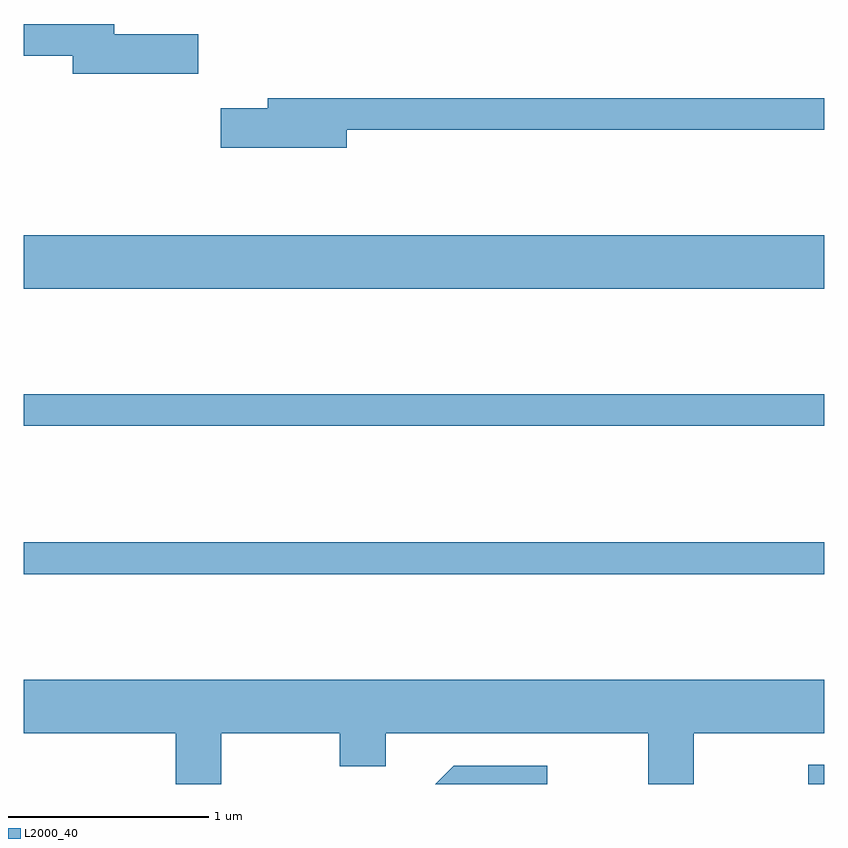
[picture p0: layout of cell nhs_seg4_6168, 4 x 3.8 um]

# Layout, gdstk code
import gdstk
lib = gdstk.Library(unit=1e-6, precision=1e-09)
def R(c, l, rs):  # rectangles x0, y0, x1, y1
    for r in rs: c.add(gdstk.rectangle(r[:2], r[2:], *l))
def P(c, l, *ps):  # polygons
    for p in ps: c.add(gdstk.Polygon(p, *l))
L2000_40 = (2000, 40)

nhs_seg4_6168 = lib.new_cell('nhs_seg4_6168')
R(nhs_seg4_6168, L2000_40, [(369.531,1349.982,369.611,1350.079), (365.611,1351.031,369.611,1351.189), (365.611,1351.771,369.611,1351.929), (365.611,1352.456,369.611,1352.724)])
P(nhs_seg4_6168, L2000_40, [(366.484,1353.729),(366.064,1353.729),(366.064,1353.779),(365.611,1353.779),(365.611,1353.621),(365.856,1353.621),(365.856,1353.531),(366.484,1353.531)],
  [(367.224,1353.251),(369.611,1353.251),(369.611,1353.409),(366.831,1353.409),(366.831,1353.359),(366.596,1353.359),(366.596,1353.161),(367.224,1353.161)],
  [(366.599,1350.236),(367.191,1350.236),(367.191,1350.071),(367.419,1350.071),(367.419,1350.236),(368.731,1350.236),(368.731,1349.982),(368.959,1349.982),(368.959,1350.236),(369.611,1350.236),(369.611,1350.504),(365.611,1350.504),(365.611,1350.236),(366.371,1350.236),(366.371,1349.982),(366.599,1349.982)],
  [(368.228,1350.074),(367.759,1350.074),(367.666,1349.982),(368.228,1349.982)])

lib.write_gds('nhs_seg4_6168.gds')
